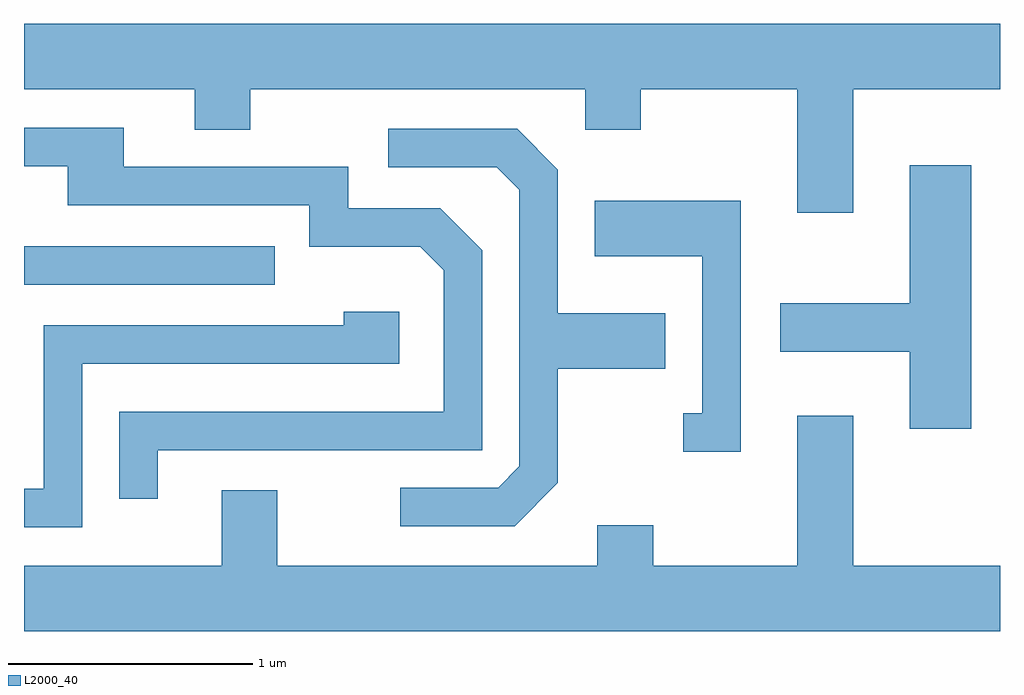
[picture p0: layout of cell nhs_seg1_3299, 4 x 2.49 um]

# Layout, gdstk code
import gdstk
lib = gdstk.Library(unit=1e-6, precision=1e-09)
def R(c, l, rs):  # rectangles x0, y0, x1, y1
    for r in rs: c.add(gdstk.rectangle(r[:2], r[2:], *l))
def P(c, l, *ps):  # polygons
    for p in ps: c.add(gdstk.Polygon(p, *l))
L2000_40 = (2000, 40)

nhs_seg1_3299 = lib.new_cell('nhs_seg1_3299')
R(nhs_seg1_3299, L2000_40, [(285.611,849.936,286.638,850.094)])
P(nhs_seg1_3299, L2000_40, [(289.009,850.736),(289.611,850.736),(289.611,851.004),(285.611,851.004),(285.611,850.736),(286.311,850.736),(286.311,850.571),(286.539,850.571),(286.539,850.736),(287.911,850.736),(287.911,850.571),(288.139,850.571),(288.139,850.736),(288.781,850.736),(288.781,850.231),(289.009,850.231)],
  [(286.159,849.256),(287.489,849.256),(287.489,850.077),(287.317,850.249),(286.939,850.249),(286.939,850.419),(286.019,850.419),(286.019,850.579),(285.611,850.579),(285.611,850.421),(285.791,850.421),(285.791,850.261),(286.781,850.261),(286.781,850.091),(287.234,850.091),(287.331,849.994),(287.331,849.414),(286.001,849.414),(286.001,849.058),(286.159,849.058)],
  [(287.799,849.124),(287.799,849.591),(288.239,849.591),(288.239,849.819),(287.799,849.819),(287.799,850.407),(287.632,850.574),(287.103,850.574),(287.103,850.416),(287.549,850.416),(287.641,850.324),(287.641,849.192),(287.554,849.104),(287.153,849.104),(287.153,848.946),(287.622,848.946)],
  [(289.494,850.424),(289.241,850.424),(289.241,849.859),(288.711,849.859),(288.711,849.661),(289.241,849.661),(289.241,849.346),(289.494,849.346)],
  [(288.549,850.279),(287.951,850.279),(287.951,850.051),(288.391,850.051),(288.391,849.409),(288.313,849.409),(288.313,849.251),(288.549,849.251)],
  [(285.849,849.611),(287.149,849.611),(287.149,849.824),(286.921,849.824),(286.921,849.769),(285.691,849.769),(285.691,849.099),(285.611,849.099),(285.611,848.941),(285.849,848.941)],
  [(289.611,848.784),(289.009,848.784),(289.009,849.399),(288.781,849.399),(288.781,848.784),(288.189,848.784),(288.189,848.949),(287.961,848.949),(287.961,848.784),(286.649,848.784),(286.649,849.094),(286.421,849.094),(286.421,848.784),(285.611,848.784),(285.611,848.516),(289.611,848.516)])

lib.write_gds('nhs_seg1_3299.gds')
